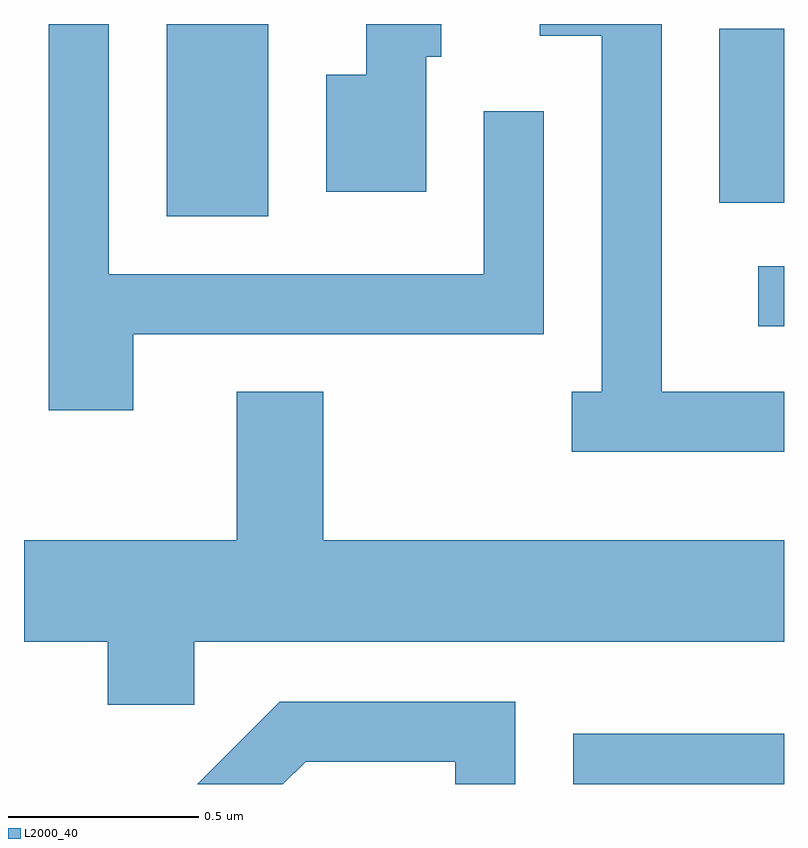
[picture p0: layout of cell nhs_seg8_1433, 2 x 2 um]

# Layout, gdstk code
import gdstk
lib = gdstk.Library(unit=1e-6, precision=1e-09)
def R(c, l, rs):  # rectangles x0, y0, x1, y1
    for r in rs: c.add(gdstk.rectangle(r[:2], r[2:], *l))
def P(c, l, *ps):  # polygons
    for p in ps: c.add(gdstk.Polygon(p, *l))
L2000_40 = (2000, 40)

nhs_seg8_1433 = lib.new_cell('nhs_seg8_1433')
R(nhs_seg8_1433, L2000_40, [(197.056,1869.342,197.611,1869.474), (197.543,1870.546,197.611,1870.704), (195.986,1870.836,196.254,1871.342), (197.441,1870.871,197.611,1871.329)])
P(nhs_seg8_1433, L2000_40, [(195.899,1870.526),(196.979,1870.526),(196.979,1871.113),(196.821,1871.113),(196.821,1870.684),(195.834,1870.684),(195.834,1871.342),(195.676,1871.342),(195.676,1870.326),(195.899,1870.326)],
  [(196.669,1871.256),(196.709,1871.256),(196.709,1871.342),(196.511,1871.342),(196.511,1871.209),(196.406,1871.209),(196.406,1870.901),(196.669,1870.901)],
  [(197.611,1870.374),(197.289,1870.374),(197.289,1871.342),(196.968,1871.342),(196.968,1871.311),(197.131,1871.311),(197.131,1870.374),(197.053,1870.374),(197.053,1870.216),(197.611,1870.216)],
  [(196.059,1869.716),(197.611,1869.716),(197.611,1869.984),(196.399,1869.984),(196.399,1870.374),(196.171,1870.374),(196.171,1869.984),(195.611,1869.984),(195.611,1869.716),(195.831,1869.716),(195.831,1869.551),(196.059,1869.551)],
  [(196.352,1869.401),(196.746,1869.401),(196.746,1869.342),(196.904,1869.342),(196.904,1869.559),(196.284,1869.559),(196.067,1869.342),(196.292,1869.342)])

lib.write_gds('nhs_seg8_1433.gds')
